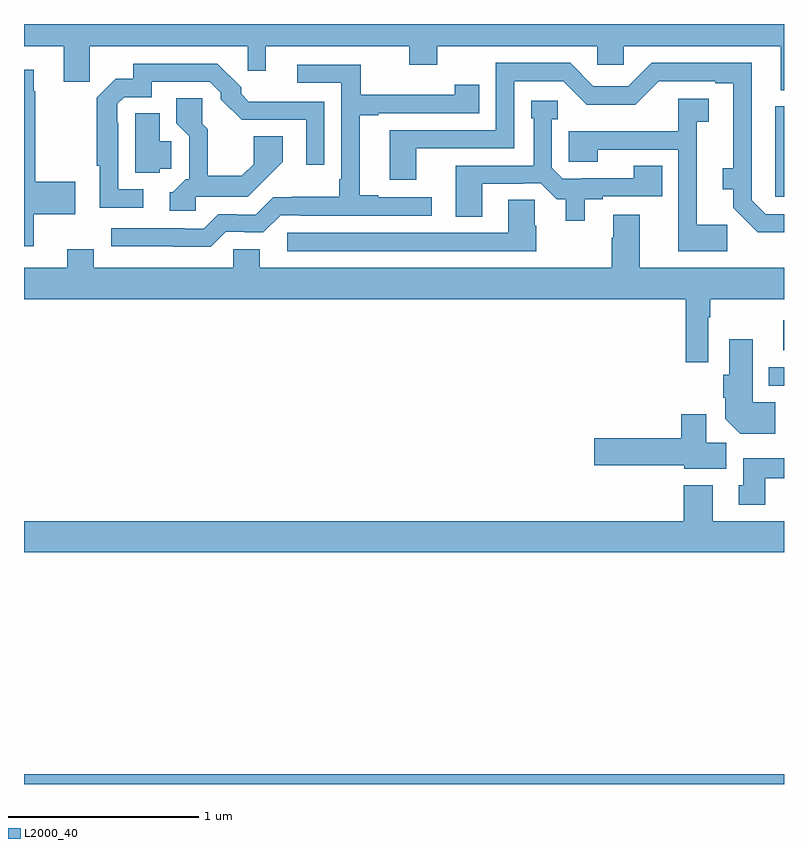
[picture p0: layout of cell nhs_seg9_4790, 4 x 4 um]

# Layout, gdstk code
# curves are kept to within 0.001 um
import gdstk
lib = gdstk.Library(unit=1e-6, precision=1e-09)
def R(c, l, rs):  # rectangles x0, y0, x1, y1
    for r in rs: c.add(gdstk.rectangle(r[:2], r[2:], *l))
def P(c, l, *ps):  # polygons
    for p in ps: c.add(gdstk.Polygon(p, *l))
L2000_40 = (2000, 40)

nhs_seg9_4790 = lib.new_cell('nhs_seg9_4790')
R(nhs_seg9_4790, L2000_40, [(387,1228.5,391,1228.552), (390.921,1230.597,391,1230.693), (390.996,1230.782,391,1230.94), (390.954,1231.59,391,1232.067)])
P(nhs_seg9_4790, L2000_40, [(391,1232.5),(387,1232.5),(387,1232.384),(387.209,1232.384),(387.209,1232.196),(387.347,1232.196),(387.347,1232.384),(388.177,1232.384),(388.177,1232.255),(388.273,1232.255),(388.273,1232.384),(389.027,1232.384),(389.027,1232.285),(389.175,1232.285),(389.175,1232.384),(390.018,1232.384),(390.018,1232.286),(390.156,1232.286),(390.156,1232.384),(390.983,1232.384),(390.983,1232.152),(391,1232.152)],
  [(390.964,1231.404),(391,1231.404),(391,1231.5),(390.903,1231.5),(390.831,1231.572),(390.831,1232.295),(390.303,1232.295),(390.18,1232.172),(389.997,1232.172),(389.874,1232.295),(389.484,1232.295),(389.484,1231.941),(388.925,1231.941),(388.925,1231.68),(389.065,1231.68),(389.065,1231.845),(389.58,1231.845),(389.58,1232.199),(389.838,1232.199),(389.962,1232.075),(390.216,1232.075),(390.34,1232.199),(390.638,1232.199),(390.638,1232.187),(390.734,1232.187),(390.734,1231.741),(390.677,1231.741),(390.677,1231.631),(390.734,1231.631),(390.734,1231.532),(390.863,1231.403)],
  [(387.628,1231.629),(387.495,1231.629),(387.495,1231.979),(387.492,1231.979),(387.492,1232.079),(387.528,1232.115),(387.672,1232.115),(387.672,1232.196),(387.978,1232.196),(388.035,1232.139),(388.035,1232.105),(388.145,1231.995),(388.485,1231.995),(388.485,1231.758),(388.581,1231.758),(388.581,1232.091),(388.184,1232.092),(388.144,1232.133),(388.144,1232.167),(388.018,1232.292),(387.574,1232.292),(387.574,1232.212),(387.484,1232.212),(387.384,1232.112),(387.384,1231.753),(387.399,1231.753),(387.399,1231.533),(387.628,1231.533)],
  [(388.062,1231.407),(388.163,1231.407),(388.163,1231.404),(388.26,1231.404),(388.35,1231.494),(388.45,1231.494),(388.45,1231.491),(389.146,1231.491),(389.146,1231.587),(388.864,1231.587),(388.864,1231.6),(388.768,1231.6),(388.768,1232.019),(388.864,1232.019),(388.864,1232.031),(389.395,1232.031),(389.395,1232.179),(389.267,1232.179),(389.267,1232.128),(388.772,1232.128),(388.772,1232.286),(388.437,1232.286),(388.437,1232.19),(388.671,1232.19),(388.671,1231.684),(388.659,1231.684),(388.659,1231.591),(388.408,1231.591),(388.408,1231.587),(388.311,1231.587),(388.221,1231.497),(388.121,1231.497),(388.121,1231.5),(388.023,1231.5),(387.945,1231.422),(387.845,1231.422),(387.845,1231.425),(387.459,1231.425),(387.459,1231.329),(387.983,1231.328)],
  [(387.052,1231.499),(387.271,1231.499),(387.271,1231.67),(387.06,1231.67),(387.06,1232.147),(387.052,1232.147),(387.052,1232.26),(387,1232.26),(387,1231.329),(387.052,1231.329)],
  [(387.903,1231.59),(388.177,1231.59),(388.363,1231.774),(388.363,1231.91),(388.209,1231.91),(388.209,1231.762),(388.147,1231.701),(387.968,1231.701),(387.968,1231.946),(387.939,1231.975),(387.939,1232.11),(387.8,1232.11),(387.8,1231.978),(387.87,1231.908),(387.87,1231.683),(387.852,1231.683),(387.783,1231.614),(387.767,1231.614),(387.767,1231.518),(387.903,1231.518)],
  [(390.702,1231.443),(390.541,1231.443),(390.541,1231.986),(390.604,1231.986),(390.604,1232.107),(390.444,1232.107),(390.444,1231.936),(389.977,1231.936),(389.977,1231.935),(389.867,1231.935),(389.867,1231.774),(390.021,1231.774),(390.021,1231.839),(390.444,1231.839),(390.444,1231.304),(390.702,1231.304)],
  [(389.95,1231.578),(390.046,1231.578),(390.046,1231.593),(390.359,1231.593),(390.359,1231.754),(390.208,1231.754),(390.208,1231.689),(389.935,1231.689),(389.935,1231.686),(389.835,1231.686),(389.778,1231.743),(389.778,1231.999),(389.808,1231.999),(389.808,1232.097),(389.669,1232.097),(389.669,1232.004),(389.682,1232.004),(389.682,1231.755),(389.273,1231.755),(389.273,1231.486),(389.413,1231.486),(389.413,1231.659),(389.627,1231.659),(389.627,1231.662),(389.721,1231.662),(389.805,1231.578),(389.852,1231.578),(389.852,1231.464),(389.95,1231.464)],
  [(387.714,1231.737),(387.774,1231.737),(387.774,1231.883),(387.715,1231.883),(387.715,1232.03),(387.585,1232.03),(387.585,1231.718),(387.714,1231.718)],
  [(389.697,1231.437),(389.687,1231.437),(389.687,1231.574),(389.549,1231.574),(389.549,1231.401),(388.386,1231.401),(388.386,1231.305),(389.697,1231.305)],
  [(390.6,1230.956),(390.613,1230.956),(390.613,1231.052),(391,1231.052),(391,1231.216),(390.241,1231.216),(390.241,1231.495),(390.101,1231.495),(390.101,1231.376),(390.094,1231.376),(390.094,1231.216),(388.24,1231.216),(388.24,1231.314),(388.101,1231.314),(388.101,1231.216),(387.367,1231.216),(387.367,1231.315),(387.227,1231.315),(387.227,1231.216),(387,1231.216),(387,1231.052),(390.484,1231.052),(390.484,1230.72),(390.6,1230.72)],
  [(390.953,1230.508),(390.835,1230.508),(390.835,1230.841),(390.713,1230.841),(390.713,1230.654),(390.68,1230.654),(390.68,1230.532),(390.692,1230.532),(390.692,1230.422),(390.77,1230.344),(390.953,1230.344)],
  [(390.697,1230.296),(390.592,1230.296),(390.592,1230.445),(390.458,1230.445),(390.458,1230.32),(390,1230.32),(390,1230.178),(390.474,1230.178),(390.474,1230.158),(390.697,1230.158)],
  [(390.901,1230.11),(391,1230.11),(391,1230.214),(390.785,1230.214),(390.785,1230.072),(390.761,1230.072),(390.761,1229.97),(390.901,1229.97)],
  [(391,1229.884),(390.625,1229.884),(390.625,1230.073),(390.473,1230.073),(390.473,1229.884),(387,1229.884),(387,1229.72),(391,1229.72)])

lib.write_gds('nhs_seg9_4790.gds')
